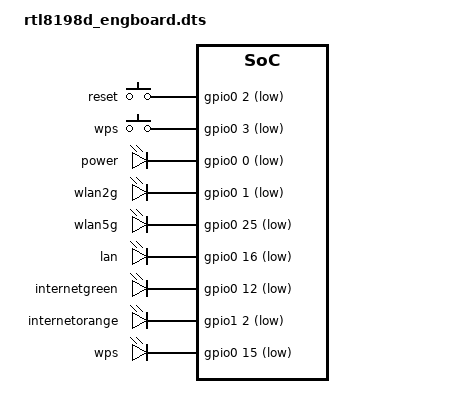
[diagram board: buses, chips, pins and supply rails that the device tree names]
/*
 * Realtek Semiconductor Corp.
 *
 * Device Tree Structure
 *
 * Tony Wu (tonywu@realtek.com)
 */

/dts-v1/;
/*Reference resources from rtl8198f-engboard.dts and rtl9607c_engboard.dts*/
#include "rtl8198d_soc.dtsi"
#include <dt-bindings/gpio/gpio.h>
#include <dt-bindings/input/input.h>
#ifndef CONFIG_LUNA_MEMORY_AUTO_DETECTION 
/*#include "memory.dts"*/
#endif

/ {
	compatible = "rtk,8198d";
	#address-cells = <1>;
	#size-cells = <1>;

	gpio-keys-polled {
		compatible = "gpio-keys-polled";
		poll-interval = <20>;
		autorepeat;

		reset {
			label = "reset";
			linux,code = <KEY_RESTART>;
			gpios = <&gpio0 2 GPIO_ACTIVE_LOW>;
			autorepeat;
		};
		wps {
			label = "wps";
			linux,code = <KEY_WPS_BUTTON>;
			gpios = <&gpio0 3 GPIO_ACTIVE_LOW>;
			autorepeat;
		};
	};

	leds {
		compatible = "gpio-leds";

		power {
			label = "power";
			gpios = <&gpio0 0 GPIO_ACTIVE_LOW>;
			default-state = "on";
		};
		wlan2g {
			label = "wlan2g";
			gpios = <&gpio0 1 GPIO_ACTIVE_LOW>;
			default-state = "off";
		};
		wlan5g {
			label = "wlan5g";
			gpios = <&gpio0 25 GPIO_ACTIVE_LOW>;
			default-state = "off";
		};
		lan {
			label = "lan";
			gpios = <&gpio0 16 GPIO_ACTIVE_LOW>;
			default-state = "off";
		};
		internetgreen {
			label = "internetgreen";
			gpios = <&gpio0 12 GPIO_ACTIVE_LOW>;
			default-state = "off";
		};
		internetorange {
			label = "internetorange";
			gpios = <&gpio1 2 GPIO_ACTIVE_LOW>;
			default-state = "off";
		};
		wps {
			label = "wps";
			gpios = <&gpio0 15 GPIO_ACTIVE_LOW>;
			default-state = "off";
		};
	};
};

&gic {
	timer {
		compatible = "mti,gic-timer";
		interrupts = <GIC_LOCAL 1 IRQ_TYPE_NONE>;
		/* clocks = <&soc_clk25mhz>; */
		clocks = <&apro_soc_clk 0>;
		/* clock-frequency = <900000000>; */
	};
};

&uart0 {
	interrupt-parent = <&gic>;
	interrupts = <GIC_SHARED GIC_EXT_UART0 IRQ_TYPE_LEVEL_HIGH>;
};


/* FIXME Disable for early development
&eth0 {
	interrupt-parent = <&gic>;
	interrupts = <GIC_SHARED 9 IRQ_TYPE_LEVEL_HIGH>;
};

&gmac {
	interrupt-parent = <&gic>;
	interrupts = <GIC_SHARED 9 IRQ_TYPE_LEVEL_HIGH>;
};

&usb {
	interrupt-parent = <&gic>;
	interrupts = <GIC_SHARED 8 IRQ_TYPE_LEVEL_HIGH>;
};

&hdmi0 {
	interrupt-parent = <&gic>;
	interrupts = <GIC_SHARED 13 IRQ_TYPE_LEVEL_HIGH>;
};
*/
